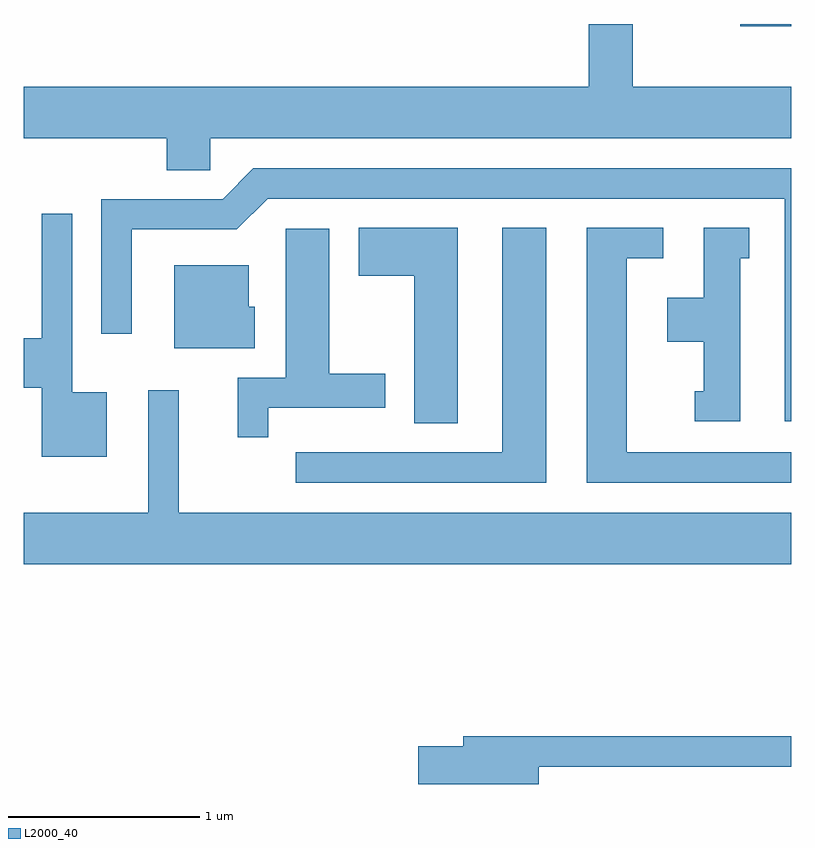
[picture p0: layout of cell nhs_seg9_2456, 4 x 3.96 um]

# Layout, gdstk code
import gdstk
lib = gdstk.Library(unit=1e-6, precision=1e-09)
def R(c, l, rs):  # rectangles x0, y0, x1, y1
    for r in rs: c.add(gdstk.rectangle(r[:2], r[2:], *l))
def P(c, l, *ps):  # polygons
    for p in ps: c.add(gdstk.Polygon(p, *l))
L2000_40 = (2000, 40)

nhs_seg9_2456 = lib.new_cell('nhs_seg9_2456')
R(nhs_seg9_2456, L2000_40, [(261.346,1972.421,261.611,1972.432)])
P(nhs_seg9_2456, L2000_40, [(258.584,1971.836),(261.611,1971.836),(261.611,1972.104),(260.784,1972.104),(260.784,1972.432),(260.556,1972.432),(260.556,1972.104),(257.611,1972.104),(257.611,1971.836),(258.356,1971.836),(258.356,1971.671),(258.584,1971.671)],
  [(261.611,1971.679),(258.808,1971.679),(258.649,1971.519),(258.016,1971.519),(258.016,1970.818),(258.174,1970.818),(258.174,1971.361),(258.722,1971.361),(258.882,1971.521),(261.576,1971.521),(261.576,1970.361),(261.611,1970.361)],
  [(258.044,1970.514),(257.864,1970.514),(257.864,1971.443),(257.706,1971.443),(257.706,1970.794),(257.611,1970.794),(257.611,1970.536),(257.706,1970.536),(257.706,1970.176),(258.044,1970.176)],
  [(260.334,1971.369),(260.106,1971.369),(260.106,1970.199),(259.028,1970.199),(259.028,1970.041),(260.334,1970.041)],
  [(261.611,1970.199),(260.754,1970.199),(260.754,1971.211),(260.943,1971.211),(260.943,1971.369),(260.546,1971.369),(260.546,1970.041),(261.611,1970.041)],
  [(259.874,1971.369),(259.356,1971.369),(259.356,1971.121),(259.646,1971.121),(259.646,1970.351),(259.874,1970.351)],
  [(261.344,1971.211),(261.392,1971.211),(261.392,1971.369),(261.156,1971.369),(261.156,1971.004),(260.966,1971.004),(260.966,1970.776),(261.156,1970.776),(261.156,1970.519),(261.108,1970.519),(261.108,1970.361),(261.344,1970.361)],
  [(258.884,1970.431),(259.494,1970.431),(259.494,1970.609),(259.204,1970.609),(259.204,1971.364),(258.976,1971.364),(258.976,1970.589),(258.726,1970.589),(258.726,1970.278),(258.884,1970.278)],
  [(258.814,1970.959),(258.784,1970.959),(258.784,1971.174),(258.396,1971.174),(258.396,1970.741),(258.814,1970.741)],
  [(261.611,1969.884),(258.419,1969.884),(258.419,1970.523),(258.261,1970.523),(258.261,1969.884),(257.611,1969.884),(257.611,1969.616),(261.611,1969.616)],
  [(260.294,1968.561),(261.611,1968.561),(261.611,1968.719),(259.901,1968.719),(259.901,1968.669),(259.666,1968.669),(259.666,1968.471),(260.294,1968.471)])

lib.write_gds('nhs_seg9_2456.gds')
